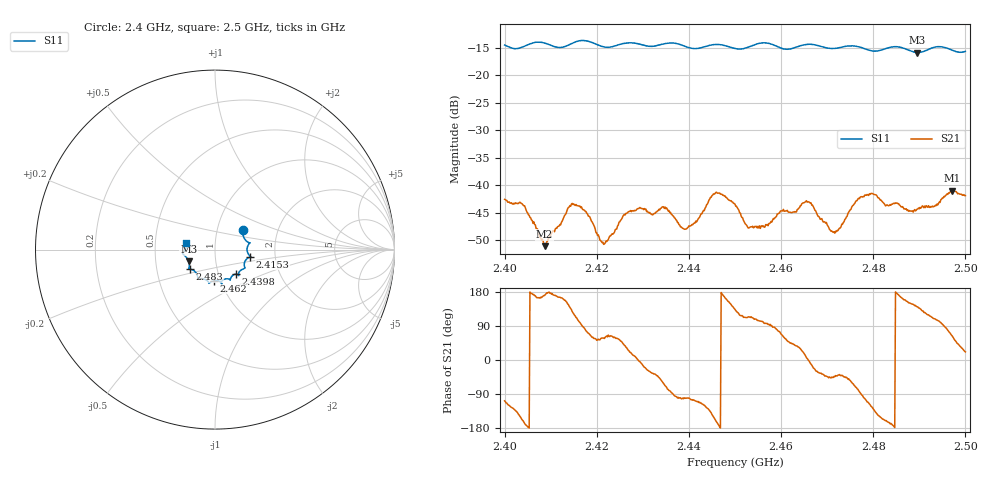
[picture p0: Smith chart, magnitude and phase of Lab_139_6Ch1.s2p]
# Hz S RI R 50
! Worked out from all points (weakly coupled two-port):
!   601 points, 2.4 GHz to 2.5 GHz, reference 50 ohm
!   highest |S21| = -41.00 dB at 2.4972 GHz (marker M1); lowest = -51.1 dB at 2.4087 GHz (marker M2)
!   lowest |S11| = -15.9 dB at 2.4895 GHz (marker M3), VSWR 1.38, Z = 36.9 - j4.99 ohm
!   |S11| at or under -10 dB: start of sweep to end of sweep
!   S12 and S22 are empty: the file has one direction only
!   S11 on the Smith chart (normalised r, x): 2.4 GHz: 1.33, +0.29; 2.4153 GHz: 1.48, -0.12; 2.4398 GHz: 1.21, -0.34; 2.462 GHz: 0.93, -0.33; 2.483 GHz: 0.74, -0.17; 2.5 GHz: 0.72, +0.06
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2.4e9  0.1551 0.1064  -0.00228 -0.00709  0 0  0 0
2.404e9  0.1745 0.048  -0.00622 -0.00225  0 0  0 0
2.408667e9  0.193 0.0357  -0.00275 0.000478  0 0  0 0
2.415333e9  0.1966 -0.0385  -0.00289 0.00587  0 0  0 0
2.416667e9  0.2021 -0.0428  -0.000341 0.00636  0 0  0 0
2.4215e9  0.1711 -0.0586  0.00154 0.00246  0 0  0 0
2.426833e9  0.1683 -0.1023  0.00518 0.0025  0 0  0 0
2.433333e9  0.1312 -0.1335  0.00422 -0.0041  0 0  0 0
2.439833e9  0.1153 -0.1367  -0.000765 -0.00408  0 0  0 0
2.4455e9  0.0845 -0.1699  -0.00738 -0.00381  0 0  0 0
2.45e9  0.0646 -0.1624  -0.00465 0.00487  0 0  0 0
2.453167e9  0.0375 -0.178  -0.00164 0.00379  0 0  0 0
2.462e9  -0.00509 -0.1733  0.00406 0.00398  0 0  0 0
2.466667e9  -0.0341 -0.1875  0.0064 -0.00155  0 0  0 0
2.4715e9  -0.064 -0.1629  0.00276 -0.00259  0 0  0 0
2.477167e9  -0.0965 -0.1519  0.000403 -0.00777  0 0  0 0
2.48e9  -0.1101 -0.1238  -0.00522 -0.00648  0 0  0 0
2.483e9  -0.1376 -0.1096  -0.00633 -0.002  0 0  0 0
2.483333e9  -0.1401 -0.1093  -0.00628 -0.00171  0 0  0 0
2.4895e9  -0.1465 -0.0658  -0.00467 0.00386  0 0  0 0
2.497167e9  -0.1687 -0.00502  0.00405 0.00793  0 0  0 0
2.5e9  -0.1598 0.0391  0.0075 0.00294  0 0  0 0
